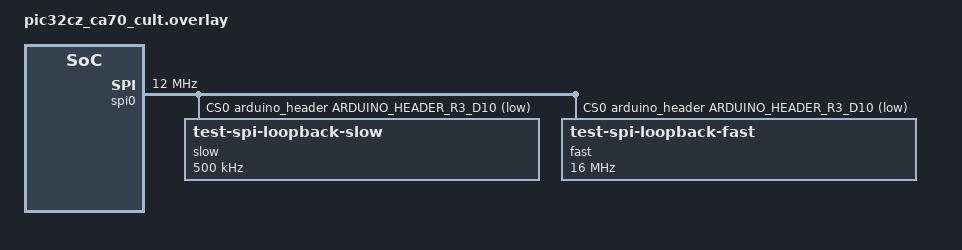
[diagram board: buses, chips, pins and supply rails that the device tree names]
/*
 * SPDX-FileCopyrightText: Copyright (c) 2026 Microchip Technology Inc.
 *
 * SPDX-License-Identifier: Apache-2.0
 */

#include <zephyr/dt-bindings/gpio/arduino-header-r3.h>

/* GPIO driven CS */
&spi0 {
	clock-frequency = <12000000>;
	pinctrl-0 = <&arduino_header_spi0>;
	pinctrl-names = "default";
	cs-gpios = <&arduino_header ARDUINO_HEADER_R3_D10 GPIO_ACTIVE_LOW>;
	status = "okay";

	slow@0 {
		compatible = "test-spi-loopback-slow";
		reg = <0>;
		spi-max-frequency = <500000>;
	};

	fast@0 {
		compatible = "test-spi-loopback-fast";
		reg = <0>;
		spi-max-frequency = <16000000>;
	};
};
